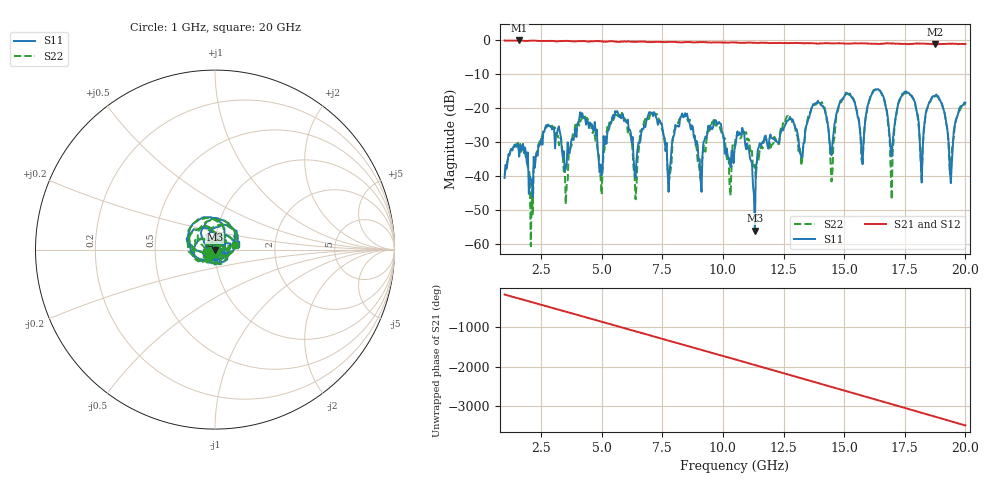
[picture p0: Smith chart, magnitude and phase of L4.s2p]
!Agilent Technologies,E8361C,US49010278,A.09.20.08
!Agilent E8361C: A.09.20.08
!Date: Tuesday, December 15, 2015 15:37:03
!Correction: S11(Full 2 Port(1,2))
!S21(Full 2 Port(1,2))
!S12(Full 2 Port(1,2))
!S22(Full 2 Port(1,2))
!S2P File: Measurements: S11, S21, S12, S22:
# Hz S  RI  R 50
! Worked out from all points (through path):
!   476 points, 1 GHz to 20 GHz, reference 50 ohm
!   highest |S21| = -0.07 dB at 1.6 GHz (marker M1); lowest = -1.2 dB at 18.76 GHz (marker M2)
!   group delay of S21, straight-line fit = 485 ps
!   lowest |S11| = -56.0 dB at 11.32 GHz (marker M3), VSWR 1.00, Z = 49.8 + j0.0043 ohm
!   |S11| at or under -10 dB: start of sweep to end of sweep
!   |S22| runs from -60.6 to -14.3 dB; largest |S21 - S12| = 0.015
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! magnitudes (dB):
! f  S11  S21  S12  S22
! 1 GHz  -40.5  -0.1  -0.1  -39.6
! 1.6 GHz  -34.2  -0.1  -0.1  -33.0
! 2.08 GHz  -40.9  -0.1  -0.1  -60.6
! 2.68 GHz  -25.6  -0.2  -0.2  -25.8
! 3.52 GHz  -37.9  -0.2  -0.2  -48.3
! 4.2 GHz  -21.5  -0.3  -0.2  -22.7
! 4.96 GHz  -36.6  -0.3  -0.3  -40.7
! 5.92 GHz  -23.8  -0.4  -0.3  -23.0
! 6.4 GHz  -40.5  -0.5  -0.5  -46.8
! 7.36 GHz  -23.7  -0.5  -0.5  -23.2
! 7.8 GHz  -38.5  -0.5  -0.5  -40.5
! 8.4 GHz  -22.5  -0.6  -0.5  -22.1
! 10.52 GHz  -30.9  -0.7  -0.6  -29.2
! 11.32 GHz  -56.0  -0.8  -0.7  -36.6
! 13.68 GHz  -19.6  -0.9  -0.9  -19.0
! 14.48 GHz  -33.8  -0.9  -0.9  -41.6
! 16.84 GHz  -25.4  -0.9  -0.9  -26.4
! 17.68 GHz  -15.6  -1.1  -1.1  -15.8
! 18.2 GHz  -41.9  -1.0  -1.0  -41.1
! 18.76 GHz  -16.4  -1.2  -1.2  -16.3
! 19.4 GHz  -42.1  -1.1  -1.0  -37.3
! 20 GHz  -18.4  -1.1  -1.1  -18.6
